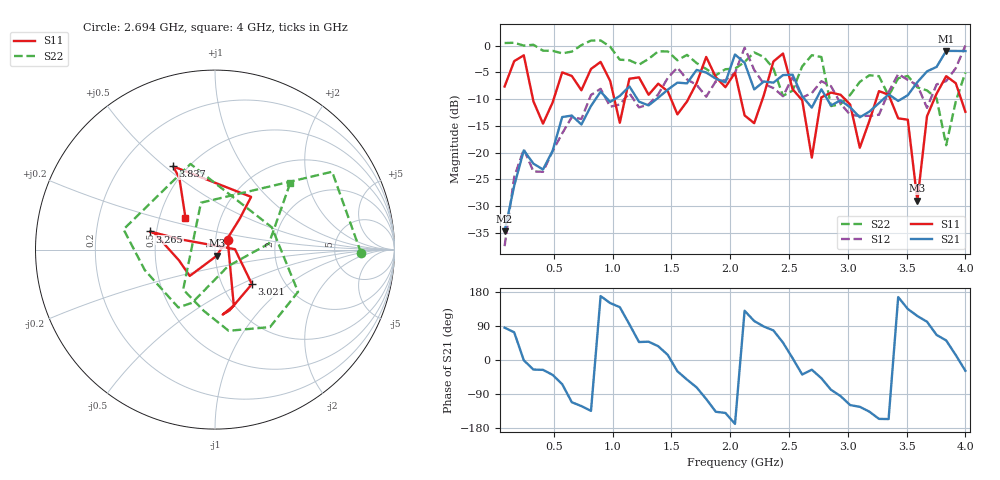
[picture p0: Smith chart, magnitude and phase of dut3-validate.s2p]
!Created with skrf (http://scikit-rf.org).
# GHz S DB R 50.0
!freq dBS11 angS11 dBS21 angS21 dBS12 angS12 dBS22 angS22
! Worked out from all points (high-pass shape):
!   49 points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, 82.61 MHz to 4 GHz, reference 50 ohm
!   highest |S21| = -0.97 dB at 3.837 GHz (marker M1); lowest = -34.7 dB at 82.61 MHz (marker M2)
!   |S21| within 3 dB of the highest: 2.005 GHz to 2.136 GHz (130.7 MHz wide, 6.31 % of centre); 3.754 GHz to end of sweep
!   lowest |S11| = -29.0 dB at 3.592 GHz (marker M3), VSWR 1.07, Z = 50.9 - j3.48 ohm
!   |S11| at or under -10 dB: 323.8 MHz to 499.7 MHz (175.9 MHz wide, 42.7 % of centre); 2.976 GHz to 3.243 GHz (267.5 MHz wide, 8.6 % of centre); 3.363 GHz to 3.735 GHz (372.6 MHz wide, 10.5 % of centre)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
!   |S22| runs from -18.6 to 1.0 dB; largest |S21 - S12| = 0.47
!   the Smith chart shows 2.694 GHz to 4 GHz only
!   S11 on the Smith chart (normalised r, x): 2.694 GHz: 1.14, +0.13; 3.021 GHz: 1.38, -0.58; 3.265 GHz: 0.46, +0.11; 3.837 GHz: 0.42, +0.53; 4 GHz: 0.68, +0.25
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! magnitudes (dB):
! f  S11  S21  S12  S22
! 82.61 MHz  -7.6  -34.7  -37.5  0.5
! 245.8 MHz  -1.8  -19.6  -19.4  0.0
! 409.1 MHz  -14.6  -23.1  -23.6  -0.9
! 735.5 MHz  -8.3  -14.7  -13.7  0.1
! 898.7 MHz  -3.0  -8.6  -8.1  1.0
! 1.062 GHz  -14.4  -9.4  -11.0  -2.6
! 1.388 GHz  -7.1  -9.7  -9.1  -1.1
! 2.041 GHz  -5.1  -1.6  -5.1  -4.3
! 2.205 GHz  -14.5  -8.2  -4.5  -1.3
! 2.449 GHz  -1.5  -5.5  -9.4  -9.4
! 2.694 GHz  -20.9  -11.6  -8.9  -1.8
! 2.776 GHz  -9.7  -8.1  -6.6  -2.1
! 2.857 GHz  -8.8  -11.2  -7.6  -11.3
! 3.021 GHz  -11.0  -11.5  -12.9  -9.2
! 3.102 GHz  -19.1  -13.4  -13.1  -6.8
! 3.265 GHz  -8.5  -10.7  -12.9  -5.7
! 3.429 GHz  -13.6  -10.3  -5.3  -6.1
! 3.51 GHz  -13.8  -9.3  -6.4  -5.6
! 3.592 GHz  -29.0  -6.8  -7.4  -7.8
! 3.674 GHz  -13.2  -4.8  -11.6  -8.4
! 3.837 GHz  -5.7  -1.0  -6.6  -18.6
! 4 GHz  -12.4  -1.0  0.0  -5.0
